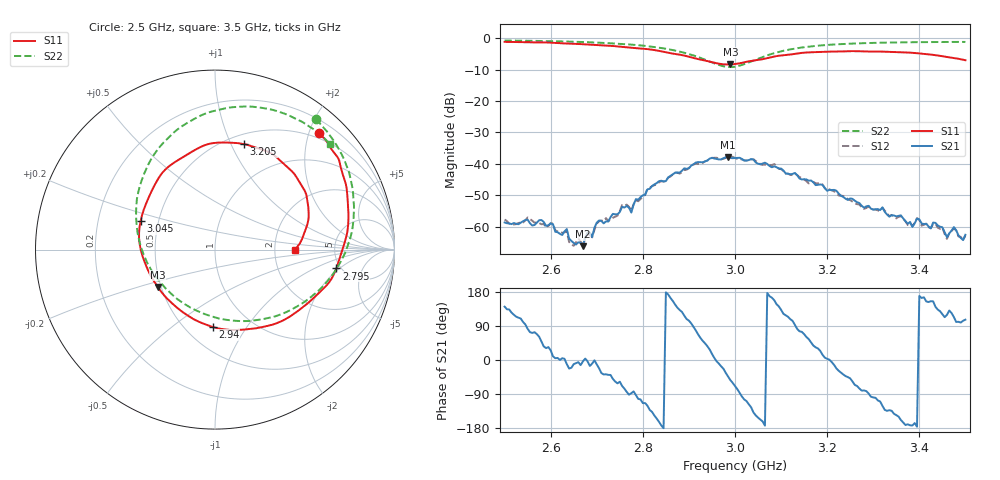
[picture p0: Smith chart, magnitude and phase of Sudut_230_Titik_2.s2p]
# Hz S RI R 50
! CMT, C1220, 16058040, 17.2.0/1
! Date: 15/08/2018 10:51:35
! Data: Format (Calibration Info)
! Freq  S11: Re/Im (F2)  S21: Re/Im (F2)  S12: Re/Im (F2)  S22: Re/Im (F2)
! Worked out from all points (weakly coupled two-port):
!   201 points, 2.5 GHz to 3.5 GHz, reference 50 ohm
!   highest |S21| = -37.88 dB at 2.985 GHz (marker M1); lowest = -66.2 dB at 2.67 GHz (marker M2)
!   lowest |S11| = -8.4 dB at 2.99 GHz (marker M3), VSWR 2.23, Z = 24 - j11.7 ohm
!   |S11| at or under -10 dB: nowhere
!   |S22| runs from -9.2 to -0.7 dB; largest |S21 - S12| = 0.00089
!   S11 on the Smith chart (normalised r, x): 2.5 GHz: 0.40, +2.17; 2.795 GHz: 4.58, -1.81; 2.94 GHz: 0.67, -0.71; 3.045 GHz: 0.40, +0.16; 3.205 GHz: 0.60, +1.12; 3.5 GHz: 2.60, +0.00
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2.5e9  0.5808 0.6504  -0.000904 0.000737  -0.00103 0.000783  0.5617 0.7262
2.58e9  0.6796 0.5194  0.000846 0.000952  0.00076 0.000783  0.6505 0.6228
2.67e9  0.7362 0.3128  0.000488 -3.04e-05  0.000507 -5.9e-05  0.7374 0.4558
2.705e9  0.7432 0.2036  0.00116 -0.000467  0.00116 -0.000399  0.7608 0.3707
2.745e9  0.7338 0.0817  0.000749 -0.00138  0.000852 -0.00123  0.7731 0.2601
2.755e9  0.7242 0.046  0.000759 -0.00192  0.000926 -0.00201  0.7744 0.2301
2.775e9  0.7029 -0.0222  7.24e-05 -0.00167  -2.25e-05 -0.0018  0.7711 0.1636
2.795e9  0.6755 -0.1051  -0.000718 -0.00286  -0.000689 -0.00268  0.7609 0.0929
2.835e9  0.579 -0.2418  -0.00506 -0.00155  -0.00481 -0.00158  0.7019 -0.0645
2.94e9  -0.0138 -0.4309  0.00909 0.00672  0.00887 0.00689  0.1875 -0.3979
2.985e9  -0.2966 -0.2392  0.00923 -0.00883  0.00973 -0.00855  -0.1729 -0.3012
2.99e9  -0.3188 -0.2079  0.0074 -0.0099  0.00806 -0.0103  -0.2098 -0.2758
3e9  -0.3597 -0.1431  0.00447 -0.0115  0.00392 -0.0118  -0.2758 -0.2152
3.045e9  -0.4145 0.1581  -0.00873 -0.00586  -0.00908 -0.00628  -0.436 0.1292
3.17e9  0.0285 0.5964  0.004 0.00314  0.00379 0.00349  -0.0923 0.7405
3.205e9  0.1614 0.5874  0.00385 4.59e-05  0.00391 -0.000171  0.0357 0.7826
3.335e9  0.4653 0.3856  -0.000973 -0.00106  -0.00105 -0.00102  0.3896 0.7566
3.385e9  0.514 0.2774  -0.000981 -0.000123  -0.00101 -0.000141  0.4837 0.7127
3.435e9  0.5157 0.1456  -0.000886 0.000732  -0.000833 0.000727  0.5611 0.6604
3.46e9  0.494 0.0828  -0.000332 0.000594  -0.000347 0.000538  0.5956 0.6334
3.475e9  0.4798 0.0479  -0.00039 0.000905  -0.000346 0.000867  0.6134 0.616
3.5e9  0.4448 0.000156  -0.00021 0.000712  -0.000167 0.000708  0.643 0.5862
